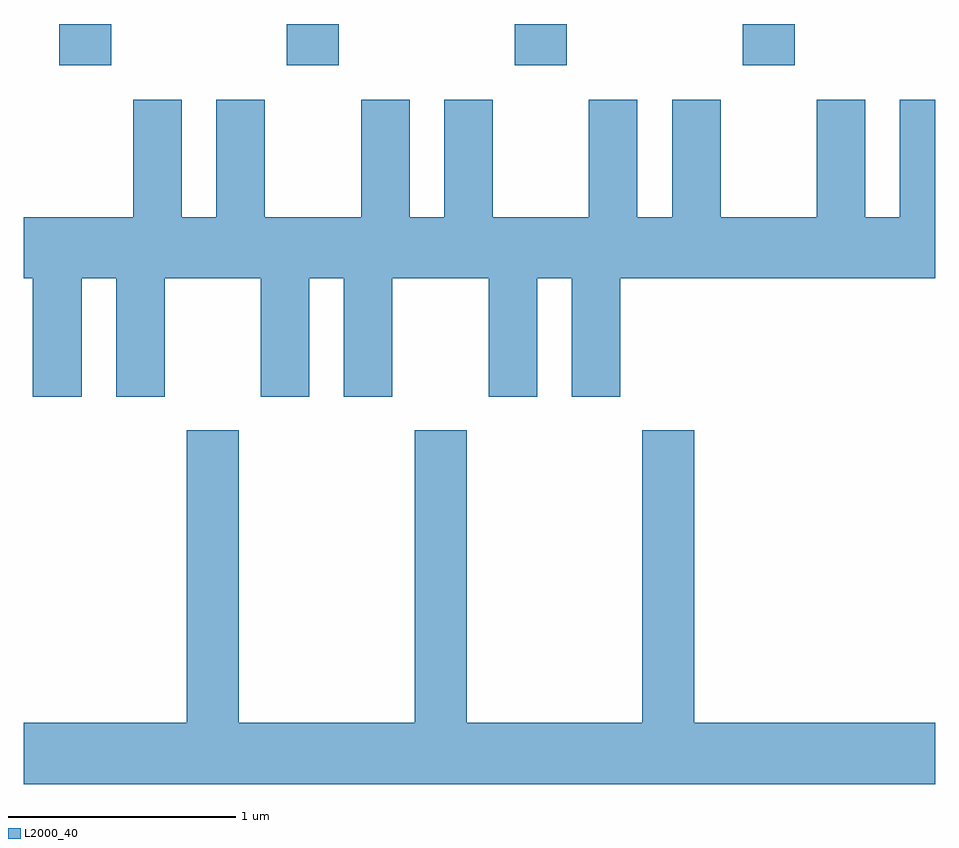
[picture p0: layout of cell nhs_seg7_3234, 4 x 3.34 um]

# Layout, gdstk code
import gdstk
lib = gdstk.Library(unit=1e-6, precision=1e-09)
def R(c, l, rs):  # rectangles x0, y0, x1, y1
    for r in rs: c.add(gdstk.rectangle(r[:2], r[2:], *l))
def A(c, l, x, y, w, h, nx, ny, dx, dy):  # array of equal rectangles
    R(c, l, [(x+i*dx, y+j*dy, x+i*dx+w, y+j*dy+h) for i in range(nx) for j in range(ny)])
def P(c, l, *ps):  # polygons
    for p in ps: c.add(gdstk.Polygon(p, *l))
L2000_40 = (2000, 40)

nhs_seg7_3234 = lib.new_cell('nhs_seg7_3234')
A(nhs_seg7_3234, L2000_40, 283.766, 1784.071, 0.228, 0.181, 4, 1, 1, 0)
P(nhs_seg7_3234, L2000_40, [(283.864,1783.136),(284.016,1783.136),(284.016,1782.616),(284.229,1782.616),(284.229,1783.136),(284.651,1783.136),(284.651,1782.616),(284.864,1782.616),(284.864,1783.136),(285.016,1783.136),(285.016,1782.616),(285.229,1782.616),(285.229,1783.136),(285.651,1783.136),(285.651,1782.616),(285.864,1782.616),(285.864,1783.136),(286.016,1783.136),(286.016,1782.616),(286.229,1782.616),(286.229,1783.136),(287.611,1783.136),(287.611,1783.919),(287.456,1783.919),(287.456,1783.404),(287.304,1783.404),(287.304,1783.919),(287.091,1783.919),(287.091,1783.404),(286.669,1783.404),(286.669,1783.919),(286.456,1783.919),(286.456,1783.404),(286.304,1783.404),(286.304,1783.919),(286.091,1783.919),(286.091,1783.404),(285.669,1783.404),(285.669,1783.919),(285.456,1783.919),(285.456,1783.404),(285.304,1783.404),(285.304,1783.919),(285.091,1783.919),(285.091,1783.404),(284.669,1783.404),(284.669,1783.919),(284.456,1783.919),(284.456,1783.404),(284.304,1783.404),(284.304,1783.919),(284.091,1783.919),(284.091,1783.404),(283.611,1783.404),(283.611,1783.136),(283.651,1783.136),(283.651,1782.616),(283.864,1782.616)],
  [(287.611,1781.184),(286.554,1781.184),(286.554,1782.469),(286.326,1782.469),(286.326,1781.184),(285.554,1781.184),(285.554,1782.469),(285.326,1782.469),(285.326,1781.184),(284.554,1781.184),(284.554,1782.469),(284.326,1782.469),(284.326,1781.184),(283.611,1781.184),(283.611,1780.916),(287.611,1780.916)])

lib.write_gds('nhs_seg7_3234.gds')
